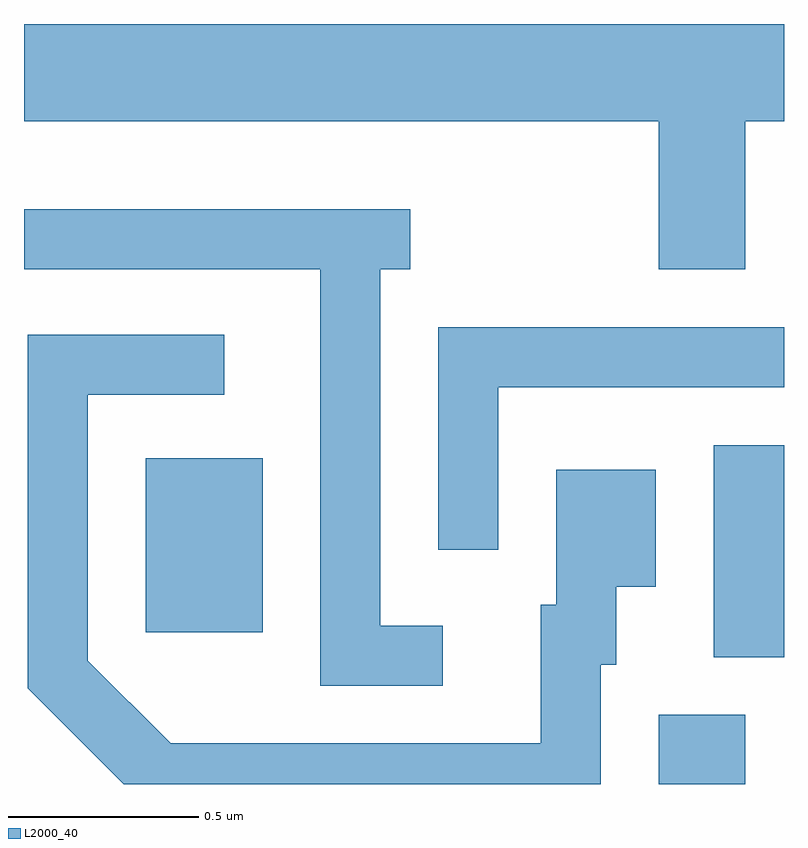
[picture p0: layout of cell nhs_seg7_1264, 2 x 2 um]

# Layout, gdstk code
import gdstk
lib = gdstk.Library(unit=1e-6, precision=1e-09)
def R(c, l, rs):  # rectangles x0, y0, x1, y1
    for r in rs: c.add(gdstk.rectangle(r[:2], r[2:], *l))
def P(c, l, *ps):  # polygons
    for p in ps: c.add(gdstk.Polygon(p, *l))
L2000_40 = (2000, 40)

nhs_seg7_1264 = lib.new_cell('nhs_seg7_1264')
R(nhs_seg7_1264, L2000_40, [(196.281,1699.252,196.509,1699.434), (196.426,1699.586,196.611,1700.144), (194.931,1699.651,195.239,1700.109)])
P(nhs_seg7_1264, L2000_40, [(196.509,1700.996),(196.611,1700.996),(196.611,1701.252),(194.611,1701.252),(194.611,1700.996),(196.281,1700.996),(196.281,1700.606),(196.509,1700.606)],
  [(195.713,1699.669),(195.549,1699.669),(195.549,1700.606),(195.628,1700.606),(195.628,1700.764),(194.611,1700.764),(194.611,1700.606),(195.391,1700.606),(195.391,1699.511),(195.713,1699.511)],
  [(195.859,1700.296),(196.611,1700.296),(196.611,1700.454),(195.701,1700.454),(195.701,1699.868),(195.859,1699.868)],
  [(196.129,1699.566),(196.169,1699.566),(196.169,1699.771),(196.274,1699.771),(196.274,1700.079),(196.011,1700.079),(196.011,1699.724),(195.971,1699.724),(195.971,1699.359),(194.997,1699.359),(194.779,1699.577),(194.779,1700.276),(195.138,1700.276),(195.138,1700.434),(194.621,1700.434),(194.621,1699.504),(194.873,1699.252),(196.129,1699.252)])

lib.write_gds('nhs_seg7_1264.gds')
